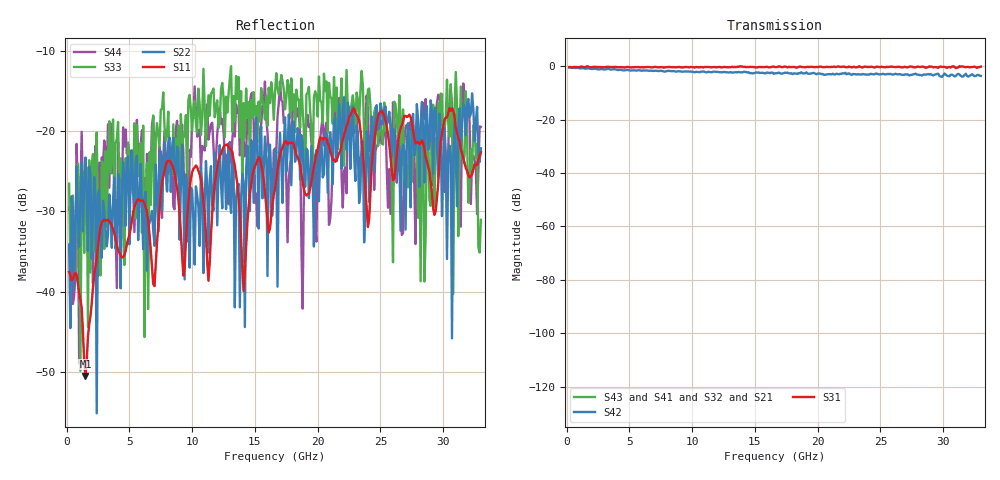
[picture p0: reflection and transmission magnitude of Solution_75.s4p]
# GHZ S RI R 50
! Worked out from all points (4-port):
!   329 points, 200 MHz to 33 GHz, reference 50 ohm
!   strongest paths, dB at 200 MHz, 8.4 GHz, 16.6 GHz, 24.8 GHz, 33 GHz:
!     S31: -0.4, -0.4, -0.4, -0.3, -0.2
!     S42: -0.5, -1.9, -2.7, -3.0, -3.7
!     S43: -, -, -, -, -
!     S41: -, -, -, -, -
!     S32: -, -, -, -, -
!     S21: -, -, -, -, -
!   lowest |S11| = -50.5 dB at 1.5 GHz (marker M1), VSWR 1.01, Z = 49.8 - j0.182 ohm
!   |S11| at or under -10 dB: start of sweep to end of sweep
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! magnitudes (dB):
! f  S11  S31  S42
! 200 MHz  -37.5  -0.4  -0.5
! 1.5 GHz  -50.5  -0.3  -0.9
! 2.4 GHz  -35.9  -0.3  -1.1
! 2.5 GHz  -34.4  -0.3  -1.2
! 5.2 GHz  -31.1  -0.5  -1.6
! 30.7 GHz  -17.1  -0.2  -3.2
! 33 GHz  -22.6  -0.2  -3.7
